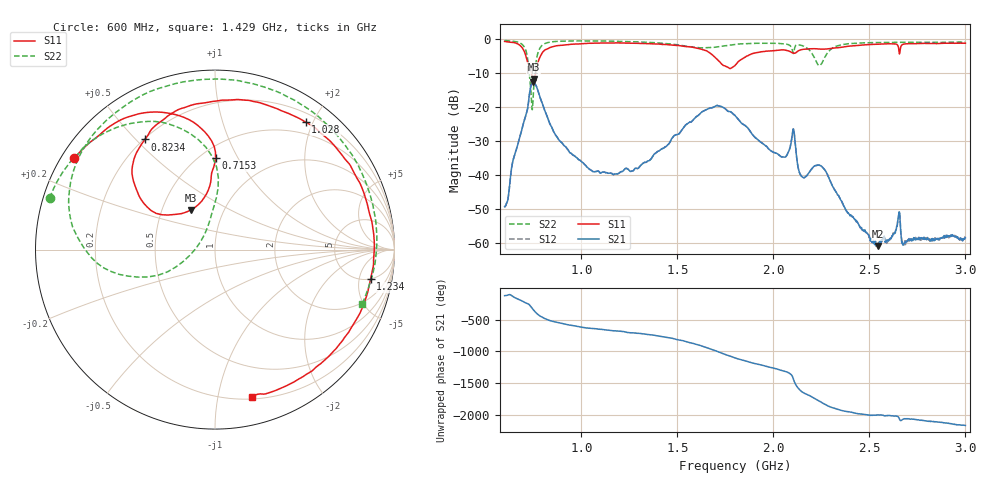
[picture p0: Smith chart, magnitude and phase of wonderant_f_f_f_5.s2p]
#  HZ  S  RI  R  50.00
! Rohde & Schwarz ZVB8 2Ports - Version 2.81 - 1145.1010k08 SN: 100113
! Date: 2016-05-17 22:38:09
! Measurements: S11 S21 S12 S22
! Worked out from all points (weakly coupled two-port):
!   1000 points, 600 MHz to 3 GHz, reference 50 ohm
!   highest |S21| = -12.68 dB at 748.9 MHz (marker M1); lowest = -61.0 dB at 2.544 GHz (marker M2)
!   lowest |S11| = -11.7 dB at 751.4 MHz (marker M3), VSWR 1.70, Z = 34.9 + j16.5 ohm
!   |S11| at or under -10 dB: 739 MHz to 762.1 MHz (23.06 MHz wide, 3.07 % of centre)
!   |S22| runs from -20.8 to -0.3 dB; largest |S21 - S12| = 0.0022
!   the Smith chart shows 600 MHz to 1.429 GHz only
!   S11 on the Smith chart (normalised r, x): 600 MHz: 0.04, +0.30; 715.3 MHz: 0.59, +0.81; 823.4 MHz: 0.20, +0.53; 1.028 GHz: 0.32, +1.89; 1.234 GHz: 4.92, -7.34; 1.429 GHz: 0.22, -1.26
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6e8  -0.7839 0.5081  -0.00185 -0.00284  -0.00188 -0.00285  -0.9219 0.2868
7.153153e8  0.00295 0.5112  -0.0354 0.0766  -0.0366 0.0758  -0.0912 0.6111
7.489489e8  -0.1123 0.2344  0.222 0.0684  0.222 0.0686  -0.1404 -0.0322
7.513514e8  -0.1358 0.2202  0.2287 0.034  0.2288 0.0339  -0.1782 -0.0671
7.753754e8  -0.397 0.2584  0.0744 -0.1514  0.0755 -0.1514  -0.6543 -0.0777
8.234234e8  -0.39 0.6136  -0.0559 -0.0434  -0.0558 -0.0438  -0.7959 0.412
1.001201e9  0.3984 0.7631  -0.00293 0.0155  -0.00297 0.0154  -0.1822 0.9334
1.027628e9  0.5046 0.7114  0.000439 0.0132  0.00036 0.0131  -0.0765 0.9473
1.234234e9  0.8669 -0.1651  0.0117 0.00457  0.0117 0.00455  0.7063 0.6051
1.4e9  0.3507 -0.7792  0.0174 -0.0141  0.0176 -0.014  0.8705 -0.164
1.428829e9  0.2067 -0.8202  0.0147 -0.0202  0.0148 -0.0202  0.8193 -0.3028
1.623423e9  -0.608 -0.3841  -0.0815 0.017  -0.0814 0.0168  0.1017 -0.7458
1.801201e9  -0.4137 -0.0385  0.0684 -0.0302  0.0685 -0.0299  -0.6022 -0.5914
1.902102e9  -0.5359 0.3308  -0.0126 -0.0341  -0.0123 -0.0343  -0.8616 -0.1668
2.027027e9  0.0226 0.6945  -0.0179 0.00873  -0.0179 0.00873  -0.7671 0.4195
2.101502e9  0.4002 0.4878  0.0399 0.022  0.0397 0.0223  -0.3773 0.5194
2.144745e9  0.5748 0.4074  -0.00967 0.00125  -0.00963 0.00116  -0.3792 0.7251
2.2e9  0.7272 0.0803  0.000956 0.0122  0.000981 0.0123  -0.0561 0.6241
2.296096e9  0.6049 -0.4118  0.00221 -0.00783  0.0024 -0.00786  -0.2863 0.6408
2.543544e9  -0.3936 -0.7527  -0.000847 0.000281  -0.000912 0.000311  0.6703 0.6013
2.601201e9  -0.5998 -0.6188  -0.000981 0.000523  -0.000953 0.000522  0.7953 0.4286
3e9  -0.6533 0.5868  0.00117 -0.000113  0.00123 -3.19e-05  0.5383 -0.7384
